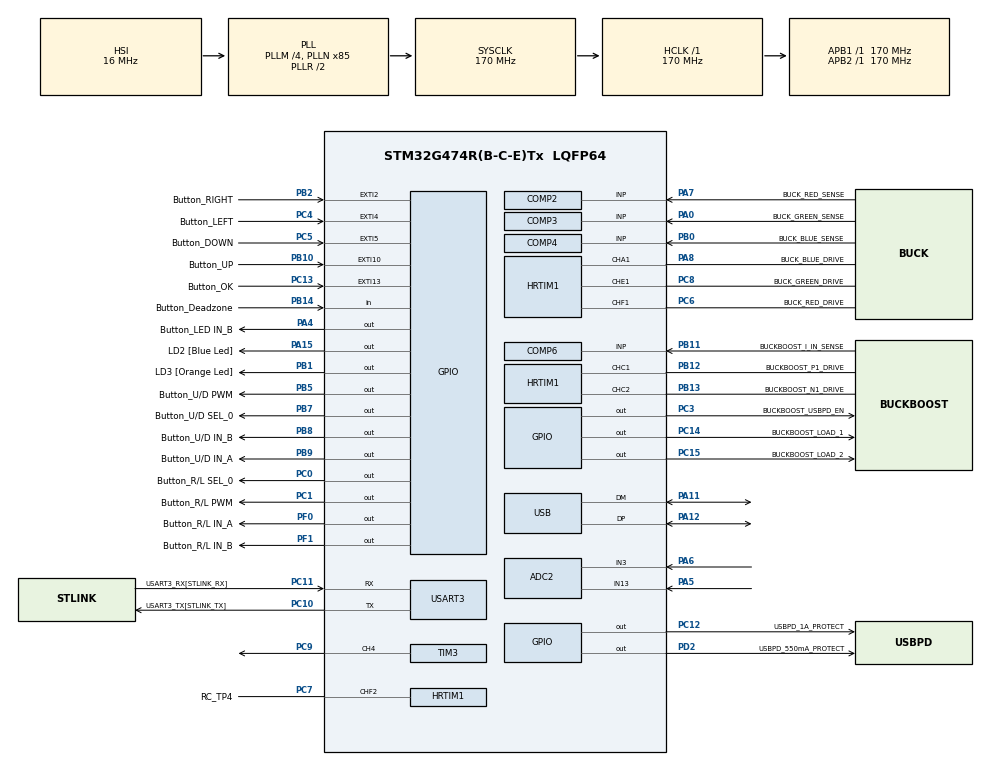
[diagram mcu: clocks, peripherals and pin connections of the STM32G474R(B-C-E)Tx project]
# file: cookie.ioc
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ADC2.Channel-0\#ChannelRegularConversion=ADC_CHANNEL_3
ADC2.Channel-1\#ChannelRegularConversion=ADC_CHANNEL_13
ADC2.ClockPrescaler=ADC_CLOCK_ASYNC_DIV16
ADC2.ContinuousConvMode=DISABLE
ADC2.EOCSelection=ADC_EOC_SINGLE_CONV
ADC2.NbrOfConversion=2
ADC2.NbrOfConversionFlag=1
ADC2.OffsetNumber-0\#ChannelRegularConversion=ADC_OFFSET_NONE
ADC2.OffsetNumber-1\#ChannelRegularConversion=ADC_OFFSET_NONE
ADC2.Rank-0\#ChannelRegularConversion=1
ADC2.Rank-1\#ChannelRegularConversion=2
ADC2.SamplingTime-0\#ChannelRegularConversion=ADC_SAMPLETIME_640CYCLES_5
ADC2.SamplingTime-1\#ChannelRegularConversion=ADC_SAMPLETIME_640CYCLES_5
FREERTOS.Tasks01=defaultTask,24,128,StartDefaultTask,Default,NULL,Dynamic,NULL,NULL;myTask02,8,128,StartTask02,Default,NULL,Dynamic,NULL,NULL;Position,8,128,StartTask03,Default,NULL,Dynamic,NULL,NULL;Task_5m,8,128,StartTask04,Default,NULL,Dynamic,NULL,NULL;myTask05,8,128,DeadZone,Default,NULL,Dynamic,NULL,NULL
FREERTOS.configTOTAL_HEAP_SIZE=10000
FREERTOS.configUSE_NEWLIB_REENTRANT=1
Mcu.Family=STM32G4
Mcu.Name=STM32G474R(B-C-E)Tx
Mcu.Package=LQFP64
NVIC.ADC1_2_IRQn=true\:5\:0\:false\:true\:true\:1\:true\:true\:true\:true
NVIC.EXTI15_10_IRQn=true\:5\:0\:false\:false\:true\:true\:true\:true\:true
NVIC.EXTI2_IRQn=true\:5\:0\:false\:false\:true\:true\:true\:true\:true
NVIC.EXTI4_IRQn=true\:5\:0\:false\:false\:true\:true\:true\:true\:true
NVIC.EXTI9_5_IRQn=true\:5\:0\:false\:false\:true\:true\:true\:true\:true
NVIC.HRTIM1_Master_IRQn=true\:5\:0\:false\:false\:true\:true\:true\:true\:true
NVIC.HRTIM1_TIMF_IRQn=true\:5\:0\:false\:false\:true\:true\:true\:true\:true
NVIC.PriorityGroup=NVIC_PRIORITYGROUP_4
NVIC.TIM1_UP_TIM16_IRQn=true\:15\:0\:false\:false\:true\:false\:false\:true\:true
NVIC.TimeBase=TIM1_UP_TIM16_IRQn
NVIC.TimeBaseIP=TIM1
NVIC.USART3_IRQn=true\:5\:0\:false\:false\:true\:true\:true\:true\:true
NVIC.USB_HP_IRQn=true\:5\:0\:false\:false\:true\:true\:true\:true\:true
PA0.GPIO_Label=BUCK_GREEN_SENSE
PA0.Mode=INP
PA0.Signal=COMP3_INP
PA1.GPIO_Label=BUCKBOOST_VIN
PA1.Signal=ADC1_IN2
PA10.Signal=UCPD1_DBCC2
PA11.Mode=Device
PA11.Signal=USB_DM
PA12.Mode=Device
PA12.Signal=USB_DP
PA13.Mode=Serial_Wire
PA13.Signal=SYS_JTMS-SWDIO
PA14.Mode=Serial_Wire
PA14.Signal=SYS_JTCK-SWCLK
PA15.GPIO_Label=LD2 [Blue Led]
PA15.Signal=GPIO_Output
PA2.GPIO_Label=BUCKBOOST_I_IN_AVG
PA2.Signal=ADC1_IN3
PA3.GPIO_Label=BUCKBOOST_VOUT
PA3.Signal=ADC1_IN4
PA4.GPIO_Label=Button_LED IN_B
PA4.Signal=GPIO_Output
PA5.Mode=IN13-Single-Ended
PA5.Signal=ADC2_IN13
PA6.Mode=IN3-Single-Ended
PA6.Signal=ADC2_IN3
PA7.GPIO_Label=BUCK_RED_SENSE
PA7.Mode=INP
PA7.Signal=COMP2_INP
PA8.GPIO_Label=BUCK_BLUE_DRIVE
PA8.Mode=Output_TA1
PA8.Signal=HRTIM1_CHA1
PA9.Signal=UCPD1_DBCC1
PB0.GPIO_Label=BUCK_BLUE_SENSE
PB0.Mode=INP
PB0.Signal=COMP4_INP
PB1.GPIO_Label=LD3 [Orange Led]
PB1.Signal=GPIO_Output
PB10.GPIO_Label=Button_UP
PB10.GPIO_PuPd=GPIO_PULLUP
PB10.Signal=GPXTI10
PB11.GPIO_Label=BUCKBOOST_I_IN_SENSE
PB11.Mode=INP
PB11.Signal=COMP6_INP
PB12.GPIO_Label=BUCKBOOST_P1_DRIVE
PB12.Mode=Output_TC1TC2
PB12.Signal=HRTIM1_CHC1
PB13.GPIO_Label=BUCKBOOST_N1_DRIVE
PB13.Mode=Output_TC1TC2
PB13.Signal=HRTIM1_CHC2
PB14.GPIO_Label=Button_Deadzone
PB14.GPIO_PuPd=GPIO_NOPULL
PB14.Signal=GPIO_Input
PB15.GPIO_Label=BUCKBOOST_P2_DRIVE
PB15.Signal=HRTIM1_CHD2
PB2.GPIO_Label=Button_RIGHT
PB2.GPIO_PuPd=GPIO_PULLUP
PB2.Signal=GPXTI2
PB3.Signal=SYS_JTDO-SWO
PB4.Signal=UCPD1_CC2
PB5.GPIO_Label=Button_U/D PWM
PB5.Signal=GPIO_Output
PB7.GPIO_Label=Button_U/D SEL_0
PB7.Signal=GPIO_Output
PB8-BOOT0.GPIO_Label=Button_U/D IN_B
PB8-BOOT0.Signal=GPIO_Output
PB9.GPIO_Label=Button_U/D IN_A
PB9.Signal=GPIO_Output
PC0.GPIO_Label=Button_R/L SEL_0
PC0.Signal=GPIO_Output
PC1.GPIO_Label=Button_R/L PWM
PC1.Signal=GPIO_Output
PC10.GPIO_Label=USART3_TX[STLINK_TX]
PC10.GPIO_Speed=GPIO_SPEED_FREQ_MEDIUM
PC10.Mode=Asynchronous
PC10.Signal=USART3_TX
PC11.GPIO_Label=USART3_RX[STLINK_RX]
PC11.GPIO_Speed=GPIO_SPEED_FREQ_MEDIUM
PC11.Mode=Asynchronous
PC11.Signal=USART3_RX
PC12.GPIO_Label=USBPD_1A_PROTECT
PC12.Signal=GPIO_Output
PC13.GPIO_Label=Button_OK
PC13.GPIO_PuPd=GPIO_PULLUP
PC13.Signal=GPXTI13
PC14-OSC32_IN.GPIO_Label=BUCKBOOST_LOAD_1
PC14-OSC32_IN.Signal=GPIO_Output
PC15-OSC32_OUT.GPIO_Label=BUCKBOOST_LOAD_2
PC15-OSC32_OUT.Signal=GPIO_Output
PC2.GPIO_Label=USBPD_VIN
PC2.Signal=ADC1_IN8
PC3.GPIO_Label=BUCKBOOST_USBPD_EN
PC3.Signal=GPIO_Output
PC4.GPIO_Label=Button_LEFT
PC4.GPIO_PuPd=GPIO_PULLUP
PC4.Signal=GPXTI4
PC5.GPIO_Label=Button_DOWN
PC5.GPIO_PuPd=GPIO_PULLUP
PC5.Signal=GPXTI5
PC6.GPIO_Label=BUCK_RED_DRIVE
PC6.Mode=Output_TF1TF2
PC6.Signal=HRTIM1_CHF1
PC7.GPIO_Label=RC_TP4
PC7.Mode=Output_TF1TF2
PC7.Signal=HRTIM1_CHF2
PC8.GPIO_Label=BUCK_GREEN_DRIVE
PC8.Mode=Output_TE1
PC8.Signal=HRTIM1_CHE1
PC9.Signal=S_TIM3_CH4
PD2.GPIO_Label=USBPD_550mA_PROTECT
PD2.Signal=GPIO_Output
PF0-OSC_IN.GPIO_Label=Button_R/L IN_A
PF0-OSC_IN.Signal=GPIO_Output
PF1-OSC_OUT.GPIO_Label=Button_R/L IN_B
PF1-OSC_OUT.Signal=GPIO_Output
ProjectManager.HeapSize=0x200
ProjectManager.StackSize=0x400
ProjectManager.TargetToolchain=STM32CubeIDE
RCC.ADC12Freq_Value=170000000
RCC.ADC345Freq_Value=170000000
RCC.AHBFreq_Value=170000000
RCC.APB1Freq_Value=170000000
RCC.APB1TimFreq_Value=170000000
RCC.APB2Freq_Value=170000000
RCC.APB2TimFreq_Value=170000000
RCC.CK48CLockSelection=RCC_USBCLKSOURCE_HSI48
RCC.CortexFreq_Value=170000000
RCC.EXTERNAL_CLOCK_VALUE=12288000
RCC.HCLKFreq_Value=170000000
RCC.HSE_VALUE=8000000
RCC.HSI48_VALUE=48000000
RCC.HSI_VALUE=16000000
RCC.LSE_VALUE=32768
RCC.PLLM=RCC_PLLM_DIV4
RCC.PLLN=85
RCC.PLLP=RCC_PLLP_DIV8
RCC.PLLQ=RCC_PLLQ_DIV8
RCC.SYSCLKFreq_VALUE=170000000
RCC.SYSCLKSource=RCC_SYSCLKSOURCE_PLLCLK
RCC.USBFreq_Value=48000000
RCC.VCOOutputFreq_Value=340000000
SH.S_TIM3_CH4.0=TIM3_CH4,PWM Generation4 CH4
TIM3.Channel-PWM\ Generation4\ CH4=TIM_CHANNEL_4
TIM3.PeriodNoDither=10000
TIM3.Prescaler=32
USART3.ClockPrescaler=PRESCALER_DIV4
USART3.VirtualMode-Asynchronous=VM_ASYNC
USART3.WordLength=WORDLENGTH_8B
VP_FREERTOS_VS_CMSIS_V2.Mode=CMSIS_V2
VP_SYS_VS_DBSignals.Mode=DisableDeadBatterySignals
VP_SYS_VS_tim1.Mode=TIM1
VP_TIM3_VS_ClockSourceINT.Mode=Internal
board=B-G474E-DPOW1

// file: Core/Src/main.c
/* USER CODE BEGIN Header */
/**
  ******************************************************************************
  * @file           : main.c
  * @brief          : Main program body
  ******************************************************************************
  * @attention
  *
  * Copyright (c) 2025 STMicroelectronics.
  * All rights reserved.
  *
  * This software is licensed under terms that can be found in the LICENSE file
  * in the root directory of this software component.
  * If no LICENSE file comes with this software, it is provided AS-IS.
  *
  ******************************************************************************
  */
/* USER CODE END Header */
#include "main.h"
#include "cmsis_os.h"

/* USER CODE BEGIN Includes */
#include "Stdbool.h"
#include "Stdint.h"
#include "string.h"
#define False 0
#define True 1
#define Vref_mV 3300

	  	  	 		  	  	 	  	   static uint32_t value1 = 0;
									   static uint32_t value2 = 0;
	  	  	 		  	  	 	  	   static uint32_t value1_conv = 0;
									   static uint32_t value2_conv = 0;

#define Position_L_R 2500
#define Position_U_D 2700

#define Hystersis 200

char ButtonState;
char state=0;
char moveleft=0;
char moveright=0;
char moveup=0;
char movedown=0;
char PositioningPhase=False;

#define Button_UP 0
#define Button_DOWN 1
#define Button_LEFT 2
#define Button_RIGHT 3
#define Button_LED 4
#define Button_LEDOFF 5
#define Button_COUNT 6

uint8_t buttonState[Button_COUNT] = {0};
uint8_t debounceCounter[Button_COUNT] = {0};
char  Message[]="Test";
static void PWM_setduty(uint8_t channel, uint16_t dutycycle);
/* USER CODE END Includes */

ADC_HandleTypeDef hadc2;

COMP_HandleTypeDef hcomp2;
COMP_HandleTypeDef hcomp3;
COMP_HandleTypeDef hcomp4;
COMP_HandleTypeDef hcomp6;

HRTIM_HandleTypeDef hhrtim1;

TIM_HandleTypeDef htim3;

UART_HandleTypeDef huart3;

PCD_HandleTypeDef hpcd_USB_FS;

/* Definitions for defaultTask */
osThreadId_t defaultTaskHandle;
const osThreadAttr_t defaultTask_attributes = {
  .name = "defaultTask",
  .priority = (osPriority_t) osPriorityNormal,
  .stack_size = 128 * 4
};
/* Definitions for myTask02 */
osThreadId_t myTask02Handle;
const osThreadAttr_t myTask02_attributes = {
  .name = "myTask02",
  .priority = (osPriority_t) osPriorityLow,
  .stack_size = 128 * 4
};
/* Definitions for Position */
osThreadId_t PositionHandle;
const osThreadAttr_t Position_attributes = {
  .name = "Position",
  .priority = (osPriority_t) osPriorityLow,
  .stack_size = 128 * 4
};
/* Definitions for Task_5m */
osThreadId_t Task_5mHandle;
const osThreadAttr_t Task_5m_attributes = {
  .name = "Task_5m",
  .priority = (osPriority_t) osPriorityLow,
  .stack_size = 128 * 4
};
/* Definitions for myTask05 */
osThreadId_t myTask05Handle;
const osThreadAttr_t myTask05_attributes = {
  .name = "myTask05",
  .priority = (osPriority_t) osPriorityLow,
  .stack_size = 128 * 4
};

void SystemClock_Config(void);
static void MX_GPIO_Init(void);
static void MX_COMP2_Init(void);
static void MX_COMP3_Init(void);
static void MX_COMP4_Init(void);
static void MX_COMP6_Init(void);
static void MX_HRTIM1_Init(void);
static void MX_USART3_UART_Init(void);
static void MX_USB_PCD_Init(void);
static void MX_ADC2_Init(void);
static void MX_TIM3_Init(void);
void StartDefaultTask(void *argument);
void StartTask02(void *argument);
void StartTask03(void *argument);
void StartTask04(void *argument);
void DeadZone(void *argument);

static void MX_NVIC_Init(void);
/* USER CODE BEGIN PFP */
void StartADC(void);
/* USER CODE END PFP */

int main(void)
{

  /* MCU Configuration--------------------------------------------------------*/

  /* Reset of all peripherals, Initializes the Flash interface and the Systick. */
  HAL_Init();

  /* Configure the system clock */
  SystemClock_Config();

  /* Initialize all configured peripherals */
  MX_GPIO_Init();
  MX_COMP2_Init();
  MX_COMP3_Init();
  MX_COMP4_Init();
  MX_COMP6_Init();
  MX_HRTIM1_Init();
  MX_USART3_UART_Init();
  MX_USB_PCD_Init();
  MX_ADC2_Init();
  MX_TIM3_Init();

  /* Initialize interrupts */
  MX_NVIC_Init();
  /* USER CODE BEGIN 2 */
HAL_ADCEx_Calibration_Start(&hadc2, ADC_SINGLE_ENDED);
HAL_UART_Transmit(&huart3, (uint8_t *) Message, strlen(Message), 10);
HAL_TIM_PWM_Start(&htim3, TIM_CHANNEL_4);
  /* USER CODE END 2 */

  /* Init scheduler */
  osKernelInitialize();

  /* Create the thread(s) */
  /* creation of defaultTask */
  defaultTaskHandle = osThreadNew(StartDefaultTask, NULL, &defaultTask_attributes);

  /* creation of myTask02 */
  myTask02Handle = osThreadNew(StartTask02, NULL, &myTask02_attributes);

  /* creation of Position */
  PositionHandle = osThreadNew(StartTask03, NULL, &Position_attributes);

  /* creation of Task_5m */
  Task_5mHandle = osThreadNew(StartTask04, NULL, &Task_5m_attributes);

  /* creation of myTask05 */
  myTask05Handle = osThreadNew(DeadZone, NULL, &myTask05_attributes);

  /* Start scheduler */
  osKernelStart();

  /* We should never get here as control is now taken by the scheduler */

  /* Infinite loop */
  while (1)
  {

  }
}

void SystemClock_Config(void)
{
  RCC_OscInitTypeDef RCC_OscInitStruct = {0};
  RCC_ClkInitTypeDef RCC_ClkInitStruct = {0};

  /** Configure the main internal regulator output voltage
  */
  HAL_PWREx_ControlVoltageScaling(PWR_REGULATOR_VOLTAGE_SCALE1_BOOST);

  /** Initializes the RCC Oscillators according to the specified parameters
  * in the RCC_OscInitTypeDef structure.
  */
  RCC_OscInitStruct.OscillatorType = RCC_OSCILLATORTYPE_HSI|RCC_OSCILLATORTYPE_HSI48;
  RCC_OscInitStruct.HSIState = RCC_HSI_ON;
  RCC_OscInitStruct.HSICalibrationValue = RCC_HSICALIBRATION_DEFAULT;
  RCC_OscInitStruct.HSI48State = RCC_HSI48_ON;
  RCC_OscInitStruct.PLL.PLLState = RCC_PLL_ON;
  RCC_OscInitStruct.PLL.PLLSource = RCC_PLLSOURCE_HSI;
  RCC_OscInitStruct.PLL.PLLM = RCC_PLLM_DIV4;
  RCC_OscInitStruct.PLL.PLLN = 85;
  RCC_OscInitStruct.PLL.PLLP = RCC_PLLP_DIV8;
  RCC_OscInitStruct.PLL.PLLQ = RCC_PLLQ_DIV8;
  RCC_OscInitStruct.PLL.PLLR = RCC_PLLR_DIV2;
  if (HAL_RCC_OscConfig(&RCC_OscInitStruct) != HAL_OK)
  {
    Error_Handler();
  }

  /** Initializes the CPU, AHB and APB buses clocks
  */
  RCC_ClkInitStruct.ClockType = RCC_CLOCKTYPE_HCLK|RCC_CLOCKTYPE_SYSCLK
                              |RCC_CLOCKTYPE_PCLK1|RCC_CLOCKTYPE_PCLK2;
  RCC_ClkInitStruct.SYSCLKSource = RCC_SYSCLKSOURCE_PLLCLK;
  RCC_ClkInitStruct.AHBCLKDivider = RCC_SYSCLK_DIV1;
  RCC_ClkInitStruct.APB1CLKDivider = RCC_HCLK_DIV1;
  RCC_ClkInitStruct.APB2CLKDivider = RCC_HCLK_DIV1;

  if (HAL_RCC_ClockConfig(&RCC_ClkInitStruct, FLASH_LATENCY_4) != HAL_OK)
  {
    Error_Handler();
  }
}

/**
  * @brief NVIC Configuration.
  * @retval None
  */
static void MX_NVIC_Init(void)
{
  /* ADC1_2_IRQn interrupt configuration */
  HAL_NVIC_SetPriority(ADC1_2_IRQn, 5, 0);
  HAL_NVIC_EnableIRQ(ADC1_2_IRQn);
}

static void MX_ADC2_Init(void)
{

  ADC_ChannelConfTypeDef sConfig = {0};

  /** Common config
  */
  hadc2.Instance = ADC2;
  hadc2.Init.ClockPrescaler = ADC_CLOCK_ASYNC_DIV16;
  hadc2.Init.Resolution = ADC_RESOLUTION_12B;
  hadc2.Init.DataAlign = ADC_DATAALIGN_RIGHT;
  hadc2.Init.GainCompensation = 0;
  hadc2.Init.ScanConvMode = ADC_SCAN_ENABLE;
  hadc2.Init.EOCSelection = ADC_EOC_SINGLE_CONV;
  hadc2.Init.LowPowerAutoWait = DISABLE;
  hadc2.Init.ContinuousConvMode = DISABLE;
  hadc2.Init.NbrOfConversion = 2;
  hadc2.Init.DiscontinuousConvMode = DISABLE;
  hadc2.Init.ExternalTrigConv = ADC_SOFTWARE_START;
  hadc2.Init.ExternalTrigConvEdge = ADC_EXTERNALTRIGCONVEDGE_NONE;
  hadc2.Init.DMAContinuousRequests = DISABLE;
  hadc2.Init.Overrun = ADC_OVR_DATA_PRESERVED;
  hadc2.Init.OversamplingMode = DISABLE;
  if (HAL_ADC_Init(&hadc2) != HAL_OK)
  {
    Error_Handler();
  }

  /** Configure Regular Channel
  */
  sConfig.Channel = ADC_CHANNEL_3;
  sConfig.Rank = ADC_REGULAR_RANK_1;
  sConfig.SamplingTime = ADC_SAMPLETIME_640CYCLES_5;
  sConfig.SingleDiff = ADC_SINGLE_ENDED;
  sConfig.OffsetNumber = ADC_OFFSET_NONE;
  sConfig.Offset = 0;
  if (HAL_ADC_ConfigChannel(&hadc2, &sConfig) != HAL_OK)
  {
    Error_Handler();
  }

  /** Configure Regular Channel
  */
  sConfig.Channel = ADC_CHANNEL_13;
  sConfig.Rank = ADC_REGULAR_RANK_2;
  if (HAL_ADC_ConfigChannel(&hadc2, &sConfig) != HAL_OK)
  {
    Error_Handler();
  }

}

static void MX_COMP2_Init(void)
{

  hcomp2.Instance = COMP2;
  hcomp2.Init.InputPlus = COMP_INPUT_PLUS_IO1;
  hcomp2.Init.InputMinus = COMP_INPUT_MINUS_1_4VREFINT;
  hcomp2.Init.OutputPol = COMP_OUTPUTPOL_NONINVERTED;
  hcomp2.Init.Hysteresis = COMP_HYSTERESIS_NONE;
  hcomp2.Init.BlankingSrce = COMP_BLANKINGSRC_NONE;
  hcomp2.Init.TriggerMode = COMP_TRIGGERMODE_NONE;
  if (HAL_COMP_Init(&hcomp2) != HAL_OK)
  {
    Error_Handler();
  }

}

static void MX_COMP3_Init(void)
{

  hcomp3.Instance = COMP3;
  hcomp3.Init.InputPlus = COMP_INPUT_PLUS_IO1;
  hcomp3.Init.InputMinus = COMP_INPUT_MINUS_1_4VREFINT;
  hcomp3.Init.OutputPol = COMP_OUTPUTPOL_NONINVERTED;
  hcomp3.Init.Hysteresis = COMP_HYSTERESIS_NONE;
  hcomp3.Init.BlankingSrce = COMP_BLANKINGSRC_NONE;
  hcomp3.Init.TriggerMode = COMP_TRIGGERMODE_NONE;
  if (HAL_COMP_Init(&hcomp3) != HAL_OK)
  {
    Error_Handler();
  }

}

static void MX_COMP4_Init(void)
{

  hcomp4.Instance = COMP4;
  hcomp4.Init.InputPlus = COMP_INPUT_PLUS_IO1;
  hcomp4.Init.InputMinus = COMP_INPUT_MINUS_1_4VREFINT;
  hcomp4.Init.OutputPol = COMP_OUTPUTPOL_NONINVERTED;
  hcomp4.Init.Hysteresis = COMP_HYSTERESIS_NONE;
  hcomp4.Init.BlankingSrce = COMP_BLANKINGSRC_NONE;
  hcomp4.Init.TriggerMode = COMP_TRIGGERMODE_NONE;
  if (HAL_COMP_Init(&hcomp4) != HAL_OK)
  {
    Error_Handler();
  }

}

static void MX_COMP6_Init(void)
{

  hcomp6.Instance = COMP6;
  hcomp6.Init.InputPlus = COMP_INPUT_PLUS_IO1;
  hcomp6.Init.InputMinus = COMP_INPUT_MINUS_1_4VREFINT;
  hcomp6.Init.OutputPol = COMP_OUTPUTPOL_NONINVERTED;
  hcomp6.Init.Hysteresis = COMP_HYSTERESIS_NONE;
  hcomp6.Init.BlankingSrce = COMP_BLANKINGSRC_NONE;
  hcomp6.Init.TriggerMode = COMP_TRIGGERMODE_NONE;
  if (HAL_COMP_Init(&hcomp6) != HAL_OK)
  {
    Error_Handler();
  }

}

static void MX_HRTIM1_Init(void)
{

  HRTIM_TimeBaseCfgTypeDef pTimeBaseCfg = {0};
  HRTIM_TimerCtlTypeDef pTimerCtl = {0};
  HRTIM_TimerCfgTypeDef pTimerCfg = {0};
  HRTIM_OutputCfgTypeDef pOutputCfg = {0};

  hhrtim1.Instance = HRTIM1;
  hhrtim1.Init.HRTIMInterruptResquests = HRTIM_IT_NONE;
  hhrtim1.Init.SyncOptions = HRTIM_SYNCOPTION_NONE;
  if (HAL_HRTIM_Init(&hhrtim1) != HAL_OK)
  {
    Error_Handler();
  }
  if (HAL_HRTIM_DLLCalibrationStart(&hhrtim1, HRTIM_CALIBRATIONRATE_3) != HAL_OK)
  {
    Error_Handler();
  }
  if (HAL_HRTIM_PollForDLLCalibration(&hhrtim1, 10) != HAL_OK)
  {
    Error_Handler();
  }
  pTimeBaseCfg.Period = 0xFFDF;
  pTimeBaseCfg.RepetitionCounter = 0x00;
  pTimeBaseCfg.PrescalerRatio = HRTIM_PRESCALERRATIO_MUL32;
  pTimeBaseCfg.Mode = HRTIM_MODE_CONTINUOUS;
  if (HAL_HRTIM_TimeBaseConfig(&hhrtim1, HRTIM_TIMERINDEX_TIMER_A, &pTimeBaseCfg) != HAL_OK)
  {
    Error_Handler();
  }
  pTimerCtl.UpDownMode = HRTIM_TIMERUPDOWNMODE_UP;
  pTimerCtl.DualChannelDacEnable = HRTIM_TIMER_DCDE_DISABLED;
  if (HAL_HRTIM_WaveformTimerControl(&hhrtim1, HRTIM_TIMERINDEX_TIMER_A, &pTimerCtl) != HAL_OK)
  {
    Error_Handler();
  }
  pTimerCfg.InterruptRequests = HRTIM_TIM_IT_NONE;
  pTimerCfg.DMARequests = HRTIM_TIM_DMA_NONE;
  pTimerCfg.DMASrcAddress = 0x0000;
  pTimerCfg.DMADstAddress = 0x0000;
  pTimerCfg.DMASize = 0x1;
  pTimerCfg.HalfModeEnable = HRTIM_HALFMODE_DISABLED;
  pTimerCfg.InterleavedMode = HRTIM_INTERLEAVED_MODE_DISABLED;
  pTimerCfg.StartOnSync = HRTIM_SYNCSTART_DISABLED;
  pTimerCfg.ResetOnSync = HRTIM_SYNCRESET_DISABLED;
  pTimerCfg.DACSynchro = HRTIM_DACSYNC_NONE;
  pTimerCfg.PreloadEnable = HRTIM_PRELOAD_DISABLED;
  pTimerCfg.UpdateGating = HRTIM_UPDATEGATING_INDEPENDENT;
  pTimerCfg.BurstMode = HRTIM_TIMERBURSTMODE_MAINTAINCLOCK;
  pTimerCfg.RepetitionUpdate = HRTIM_UPDATEONREPETITION_DISABLED;
  pTimerCfg.PushPull = HRTIM_TIMPUSHPULLMODE_DISABLED;
  pTimerCfg.FaultEnable = HRTIM_TIMFAULTENABLE_NONE;
  pTimerCfg.FaultLock = HRTIM_TIMFAULTLOCK_READWRITE;
  pTimerCfg.DeadTimeInsertion = HRTIM_TIMDEADTIMEINSERTION_DISABLED;
  pTimerCfg.DelayedProtectionMode = HRTIM_TIMER_A_B_C_DELAYEDPROTECTION_DISABLED;
  pTimerCfg.UpdateTrigger = HRTIM_TIMUPDATETRIGGER_NONE;
  pTimerCfg.ResetTrigger = HRTIM_TIMRESETTRIGGER_NONE;
  pTimerCfg.ResetUpdate = HRTIM_TIMUPDATEONRESET_DISABLED;
  pTimerCfg.ReSyncUpdate = HRTIM_TIMERESYNC_UPDATE_UNCONDITIONAL;
  if (HAL_HRTIM_WaveformTimerConfig(&hhrtim1, HRTIM_TIMERINDEX_TIMER_A, &pTimerCfg) != HAL_OK)
  {
    Error_Handler();
  }
  if (HAL_HRTIM_WaveformTimerConfig(&hhrtim1, HRTIM_TIMERINDEX_TIMER_C, &pTimerCfg) != HAL_OK)
  {
    Error_Handler();
  }
  pTimerCfg.DelayedProtectionMode = HRTIM_TIMER_D_E_DELAYEDPROTECTION_DISABLED;
  if (HAL_HRTIM_WaveformTimerConfig(&hhrtim1, HRTIM_TIMERINDEX_TIMER_E, &pTimerCfg) != HAL_OK)
  {
    Error_Handler();
  }
  pTimerCfg.DelayedProtectionMode = HRTIM_TIMER_F_DELAYEDPROTECTION_DISABLED;
  if (HAL_HRTIM_WaveformTimerConfig(&hhrtim1, HRTIM_TIMERINDEX_TIMER_F, &pTimerCfg) != HAL_OK)
  {
    Error_Handler();
  }
  pOutputCfg.Polarity = HRTIM_OUTPUTPOLARITY_HIGH;
  pOutputCfg.SetSource = HRTIM_OUTPUTSET_NONE;
  pOutputCfg.ResetSource = HRTIM_OUTPUTRESET_NONE;
  pOutputCfg.IdleMode = HRTIM_OUTPUTIDLEMODE_NONE;
  pOutputCfg.IdleLevel = HRTIM_OUTPUTIDLELEVEL_INACTIVE;
  pOutputCfg.FaultLevel = HRTIM_OUTPUTFAULTLEVEL_NONE;
  pOutputCfg.ChopperModeEnable = HRTIM_OUTPUTCHOPPERMODE_DISABLED;
  pOutputCfg.BurstModeEntryDelayed = HRTIM_OUTPUTBURSTMODEENTRY_REGULAR;
  if (HAL_HRTIM_WaveformOutputConfig(&hhrtim1, HRTIM_TIMERINDEX_TIMER_A, HRTIM_OUTPUT_TA1, &pOutputCfg) != HAL_OK)
  {
    Error_Handler();
  }
  if (HAL_HRTIM_WaveformOutputConfig(&hhrtim1, HRTIM_TIMERINDEX_TIMER_C, HRTIM_OUTPUT_TC1, &pOutputCfg) != HAL_OK)
  {
    Error_Handler();
  }
  if (HAL_HRTIM_WaveformOutputConfig(&hhrtim1, HRTIM_TIMERINDEX_TIMER_E, HRTIM_OUTPUT_TE1, &pOutputCfg) != HAL_OK)
  {
    Error_Handler();
  }
  if (HAL_HRTIM_WaveformOutputConfig(&hhrtim1, HRTIM_TIMERINDEX_TIMER_F, HRTIM_OUTPUT_TF1, &pOutputCfg) != HAL_OK)
  {
    Error_Handler();
  }
  if (HAL_HRTIM_TimeBaseConfig(&hhrtim1, HRTIM_TIMERINDEX_TIMER_C, &pTimeBaseCfg) != HAL_OK)
  {
    Error_Handler();
  }
  if (HAL_HRTIM_WaveformTimerControl(&hhrtim1, HRTIM_TIMERINDEX_TIMER_C, &pTimerCtl) != HAL_OK)
  {
    Error_Handler();
  }
  if (HAL_HRTIM_WaveformOutputConfig(&hhrtim1, HRTIM_TIMERINDEX_TIMER_C, HRTIM_OUTPUT_TC2, &pOutputCfg) != HAL_OK)
  {
    Error_Handler();
  }
  if (HAL_HRTIM_WaveformOutputConfig(&hhrtim1, HRTIM_TIMERINDEX_TIMER_F, HRTIM_OUTPUT_TF2, &pOutputCfg) != HAL_OK)
  {
    Error_Handler();
  }
  if (HAL_HRTIM_TimeBaseConfig(&hhrtim1, HRTIM_TIMERINDEX_TIMER_E, &pTimeBaseCfg) != HAL_OK)
  {
    Error_Handler();
  }
  if (HAL_HRTIM_WaveformTimerControl(&hhrtim1, HRTIM_TIMERINDEX_TIMER_E, &pTimerCtl) != HAL_OK)
  {
    Error_Handler();
  }
  if (HAL_HRTIM_TimeBaseConfig(&hhrtim1, HRTIM_TIMERINDEX_TIMER_F, &pTimeBaseCfg) != HAL_OK)
  {
    Error_Handler();
  }
  if (HAL_HRTIM_WaveformTimerControl(&hhrtim1, HRTIM_TIMERINDEX_TIMER_F, &pTimerCtl) != HAL_OK)
  {
    Error_Handler();
  }
  HAL_HRTIM_MspPostInit(&hhrtim1);

}

static void MX_TIM3_Init(void)
{

  TIM_ClockConfigTypeDef sClockSourceConfig = {0};
  TIM_MasterConfigTypeDef sMasterConfig = {0};
  TIM_OC_InitTypeDef sConfigOC = {0};

  htim3.Instance = TIM3;
  htim3.Init.Prescaler = 32;
  htim3.Init.CounterMode = TIM_COUNTERMODE_UP;
  htim3.Init.Period = 10000;
  htim3.Init.ClockDivision = TIM_CLOCKDIVISION_DIV1;
  htim3.Init.AutoReloadPreload = TIM_AUTORELOAD_PRELOAD_DISABLE;
  if (HAL_TIM_Base_Init(&htim3) != HAL_OK)
  {
    Error_Handler();
  }
  sClockSourceConfig.ClockSource = TIM_CLOCKSOURCE_INTERNAL;
  if (HAL_TIM_ConfigClockSource(&htim3, &sClockSourceConfig) != HAL_OK)
  {
    Error_Handler();
  }
  if (HAL_TIM_PWM_Init(&htim3) != HAL_OK)
  {
    Error_Handler();
  }
  sMasterConfig.MasterOutputTrigger = TIM_TRGO_RESET;
  sMasterConfig.MasterSlaveMode = TIM_MASTERSLAVEMODE_DISABLE;
  if (HAL_TIMEx_MasterConfigSynchronization(&htim3, &sMasterConfig) != HAL_OK)
  {
    Error_Handler();
  }
  sConfigOC.OCMode = TIM_OCMODE_PWM1;
  sConfigOC.Pulse = 0;
  sConfigOC.OCPolarity = TIM_OCPOLARITY_HIGH;
  sConfigOC.OCFastMode = TIM_OCFAST_DISABLE;
  if (HAL_TIM_PWM_ConfigChannel(&htim3, &sConfigOC, TIM_CHANNEL_4) != HAL_OK)
  {
    Error_Handler();
  }
  HAL_TIM_MspPostInit(&htim3);

}

static void MX_USART3_UART_Init(void)
{

  huart3.Instance = USART3;
  huart3.Init.BaudRate = 115200;
  huart3.Init.WordLength = UART_WORDLENGTH_8B;
  huart3.Init.StopBits = UART_STOPBITS_1;
  huart3.Init.Parity = UART_PARITY_NONE;
  huart3.Init.Mode = UART_MODE_TX_RX;
  huart3.Init.HwFlowCtl = UART_HWCONTROL_NONE;
  huart3.Init.OverSampling = UART_OVERSAMPLING_16;
  huart3.Init.OneBitSampling = UART_ONE_BIT_SAMPLE_DISABLE;
  huart3.Init.ClockPrescaler = UART_PRESCALER_DIV4;
  huart3.AdvancedInit.AdvFeatureInit = UART_ADVFEATURE_NO_INIT;
  if (HAL_UART_Init(&huart3) != HAL_OK)
  {
    Error_Handler();
  }
  if (HAL_UARTEx_SetTxFifoThreshold(&huart3, UART_TXFIFO_THRESHOLD_1_8) != HAL_OK)
  {
    Error_Handler();
  }
  if (HAL_UARTEx_SetRxFifoThreshold(&huart3, UART_RXFIFO_THRESHOLD_1_8) != HAL_OK)
  {
    Error_Handler();
  }
  if (HAL_UARTEx_DisableFifoMode(&huart3) != HAL_OK)
  {
    Error_Handler();
  }

}

static void MX_USB_PCD_Init(void)
{

  hpcd_USB_FS.Instance = USB;
  hpcd_USB_FS.Init.dev_endpoints = 8;
  hpcd_USB_FS.Init.speed = PCD_SPEED_FULL;
  hpcd_USB_FS.Init.phy_itface = PCD_PHY_EMBEDDED;
  hpcd_USB_FS.Init.Sof_enable = DISABLE;
  hpcd_USB_FS.Init.low_power_enable = DISABLE;
  hpcd_USB_FS.Init.lpm_enable = DISABLE;
  hpcd_USB_FS.Init.battery_charging_enable = DISABLE;
  if (HAL_PCD_Init(&hpcd_USB_FS) != HAL_OK)
  {
    Error_Handler();
  }

}

static void MX_GPIO_Init(void)
{
  GPIO_InitTypeDef GPIO_InitStruct = {0};

  /* GPIO Ports Clock Enable */
  __HAL_RCC_GPIOC_CLK_ENABLE();
  __HAL_RCC_GPIOF_CLK_ENABLE();
  __HAL_RCC_GPIOA_CLK_ENABLE();
  __HAL_RCC_GPIOB_CLK_ENABLE();
  __HAL_RCC_GPIOD_CLK_ENABLE();

  /*Configure GPIO pin Output Level */
  HAL_GPIO_WritePin(GPIOC, BUCKBOOST_LOAD_1_Pin|BUCKBOOST_LOAD_2_Pin|Button_R_L_SEL_0_Pin|Button_R_L_PWM_Pin
                          |BUCKBOOST_USBPD_EN_Pin|USBPD_1A_PROTECT_Pin, GPIO_PIN_RESET);

  /*Configure GPIO pin Output Level */
  HAL_GPIO_WritePin(GPIOF, Button_R_L_IN_A_Pin|Button_R_L_IN_B_Pin, GPIO_PIN_RESET);

  /*Configure GPIO pin Output Level */
  HAL_GPIO_WritePin(GPIOA, Button_LED_IN_B_Pin|LD2_Pin, GPIO_PIN_RESET);

  /*Configure GPIO pin Output Level */
  HAL_GPIO_WritePin(GPIOB, LD3_Pin|Button_U_D_PWM_Pin|Button_U_D_SEL_0_Pin|Button_U_D_IN_B_Pin
                          |Button_U_D_IN_A_Pin, GPIO_PIN_RESET);

  /*Configure GPIO pin Output Level */
  HAL_GPIO_WritePin(USBPD_550mA_PROTECT_GPIO_Port, USBPD_550mA_PROTECT_Pin, GPIO_PIN_RESET);

  /*Configure GPIO pins : Button_OK_Pin Button_LEFT_Pin Button_DOWN_Pin */
  GPIO_InitStruct.Pin = Button_OK_Pin|Button_LEFT_Pin|Button_DOWN_Pin;
  GPIO_InitStruct.Mode = GPIO_MODE_IT_RISING;
  GPIO_InitStruct.Pull = GPIO_PULLUP;
  HAL_GPIO_Init(GPIOC, &GPIO_InitStruct);

  /*Configure GPIO pins : BUCKBOOST_LOAD_1_Pin BUCKBOOST_LOAD_2_Pin Button_R_L_SEL_0_Pin Button_R_L_PWM_Pin
                           BUCKBOOST_USBPD_EN_Pin USBPD_1A_PROTECT_Pin */
  GPIO_InitStruct.Pin = BUCKBOOST_LOAD_1_Pin|BUCKBOOST_LOAD_2_Pin|Button_R_L_SEL_0_Pin|Button_R_L_PWM_Pin
                          |BUCKBOOST_USBPD_EN_Pin|USBPD_1A_PROTECT_Pin;
  GPIO_InitStruct.Mode = GPIO_MODE_OUTPUT_PP;
  GPIO_InitStruct.Pull = GPIO_NOPULL;
  GPIO_InitStruct.Speed = GPIO_SPEED_FREQ_LOW;
  HAL_GPIO_Init(GPIOC, &GPIO_InitStruct);

  /*Configure GPIO pins : Button_R_L_IN_A_Pin Button_R_L_IN_B_Pin */
  GPIO_InitStruct.Pin = Button_R_L_IN_A_Pin|Button_R_L_IN_B_Pin;
  GPIO_InitStruct.Mode = GPIO_MODE_OUTPUT_PP;
  GPIO_InitStruct.Pull = GPIO_NOPULL;
  GPIO_InitStruct.Speed = GPIO_SPEED_FREQ_LOW;
  HAL_GPIO_Init(GPIOF, &GPIO_InitStruct);

  /*Configure GPIO pin : USBPD_VIN_Pin */
  GPIO_InitStruct.Pin = USBPD_VIN_Pin;
  GPIO_InitStruct.Mode = GPIO_MODE_ANALOG;
  GPIO_InitStruct.Pull = GPIO_NOPULL;
  HAL_GPIO_Init(USBPD_VIN_GPIO_Port, &GPIO_InitStruct);

  /*Configure GPIO pins : BUCKBOOST_VIN_Pin BUCKBOOST_I_IN_AVG_Pin BUCKBOOST_VOUT_Pin */
  GPIO_InitStruct.Pin = BUCKBOOST_VIN_Pin|BUCKBOOST_I_IN_AVG_Pin|BUCKBOOST_VOUT_Pin;
  GPIO_InitStruct.Mode = GPIO_MODE_ANALOG;
  GPIO_InitStruct.Pull = GPIO_NOPULL;
  HAL_GPIO_Init(GPIOA, &GPIO_InitStruct);

  /*Configure GPIO pins : Button_LED_IN_B_Pin LD2_Pin */
  GPIO_InitStruct.Pin = Button_LED_IN_B_Pin|LD2_Pin;
  GPIO_InitStruct.Mode = GPIO_MODE_OUTPUT_PP;
  GPIO_InitStruct.Pull = GPIO_NOPULL;
  GPIO_InitStruct.Speed = GPIO_SPEED_FREQ_LOW;
  HAL_GPIO_Init(GPIOA, &GPIO_InitStruct);

  /*Configure GPIO pins : LD3_Pin Button_U_D_PWM_Pin Button_U_D_SEL_0_Pin Button_U_D_IN_B_Pin
                           Button_U_D_IN_A_Pin */
  GPIO_InitStruct.Pin = LD3_Pin|Button_U_D_PWM_Pin|Button_U_D_SEL_0_Pin|Button_U_D_IN_B_Pin
                          |Button_U_D_IN_A_Pin;
  GPIO_InitStruct.Mode = GPIO_MODE_OUTPUT_PP;
  GPIO_InitStruct.Pull = GPIO_NOPULL;
  GPIO_InitStruct.Speed = GPIO_SPEED_FREQ_LOW;
  HAL_GPIO_Init(GPIOB, &GPIO_InitStruct);

  /*Configure GPIO pins : Button_RIGHT_Pin Button_UP_Pin */
  GPIO_InitStruct.Pin = Button_RIGHT_Pin|Button_UP_Pin;
  GPIO_InitStruct.Mode = GPIO_MODE_IT_RISING;
  GPIO_InitStruct.Pull = GPIO_PULLUP;
  HAL_GPIO_Init(GPIOB, &GPIO_InitStruct);

  /*Configure GPIO pin : Button_Deadzone_Pin */
  GPIO_InitStruct.Pin = Button_Deadzone_Pin;
  GPIO_InitStruct.Mode = GPIO_MODE_INPUT;
  GPIO_InitStruct.Pull = GPIO_NOPULL;
  HAL_GPIO_Init(Button_Deadzone_GPIO_Port, &GPIO_InitStruct);

  /*Configure GPIO pin : USBPD_550mA_PROTECT_Pin */
  GPIO_InitStruct.Pin = USBPD_550mA_PROTECT_Pin;
  GPIO_InitStruct.Mode = GPIO_MODE_OUTPUT_PP;
  GPIO_InitStruct.Pull = GPIO_NOPULL;
  GPIO_InitStruct.Speed = GPIO_SPEED_FREQ_LOW;
  HAL_GPIO_Init(USBPD_550mA_PROTECT_GPIO_Port, &GPIO_InitStruct);

  /*Configure GPIO pin : PB4 */
  GPIO_InitStruct.Pin = GPIO_PIN_4;
  GPIO_InitStruct.Mode = GPIO_MODE_ANALOG;
  GPIO_InitStruct.Pull = GPIO_NOPULL;
  HAL_GPIO_Init(GPIOB, &GPIO_InitStruct);

  /* EXTI interrupt init*/
  HAL_NVIC_SetPriority(EXTI2_IRQn, 5, 0);
  HAL_NVIC_EnableIRQ(EXTI2_IRQn);

  HAL_NVIC_SetPriority(EXTI4_IRQn, 5, 0);
  HAL_NVIC_EnableIRQ(EXTI4_IRQn);

  HAL_NVIC_SetPriority(EXTI9_5_IRQn, 5, 0);
  HAL_NVIC_EnableIRQ(EXTI9_5_IRQn);

  HAL_NVIC_SetPriority(EXTI15_10_IRQn, 5, 0);
  HAL_NVIC_EnableIRQ(EXTI15_10_IRQn);

}

/* USER CODE BEGIN 4 */

static void PWM_setduty(uint8_t channel, uint16_t dutycycle)
{
	uint16_t calcduty=(htim3.Init.Period/100)*dutycycle;
	__HAL_TIM_SET_COMPARE(&htim3,channel,calcduty);

}

void StartADC(void)
{
			HAL_ADC_Start(&hadc2);
			   while(HAL_ADC_PollForConversion(&hadc2, 650000) != HAL_OK)
			  {

			  }
			   value1 = HAL_ADC_GetValue(&hadc2);
			   value1_conv= __HAL_ADC_CALC_DATA_TO_VOLTAGE(Vref_mV,value1,ADC_RESOLUTION_12B);
			   HAL_ADC_Start(&hadc2);
			   while(HAL_ADC_PollForConversion(&hadc2, 650000) != HAL_OK)
			  {

			  }
			   value2 = HAL_ADC_GetValue(&hadc2);
			   value2_conv= __HAL_ADC_CALC_DATA_TO_VOLTAGE(Vref_mV,value2,ADC_RESOLUTION_12B);
}
/* USER CODE END 4 */

void StartDefaultTask(void *argument)
{
  /* USER CODE BEGIN 5 */
  /* Infinite loop */
  for(;;)
  {

	  if(buttonState[Button_LEFT]==1 && buttonState[Button_RIGHT]==0 &&buttonState[Button_DOWN]==0&&buttonState[Button_UP]==0)
	  {
		  HAL_GPIO_WritePin(Button_R_L_IN_A_GPIO_Port, Button_R_L_IN_A_Pin, 1);
		  HAL_GPIO_WritePin(Button_R_L_IN_B_GPIO_Port, Button_R_L_IN_B_Pin, 0);
		  HAL_GPIO_WritePin(Button_R_L_SEL_0_GPIO_Port, Button_R_L_SEL_0_Pin, 1);
		  HAL_GPIO_WritePin(Button_R_L_PWM_GPIO_Port, Button_R_L_PWM_Pin, 1);
	  }
	  else if(buttonState[Button_LEFT]==0 && buttonState[Button_RIGHT]==0)
	  {
		  HAL_GPIO_WritePin(Button_R_L_IN_A_GPIO_Port, Button_R_L_IN_A_Pin, 1);
		  HAL_GPIO_WritePin(Button_R_L_IN_B_GPIO_Port, Button_R_L_IN_B_Pin, 0);
		  HAL_GPIO_WritePin(Button_R_L_SEL_0_GPIO_Port, Button_R_L_SEL_0_Pin, 1);
		  HAL_GPIO_WritePin(Button_R_L_PWM_GPIO_Port, Button_R_L_PWM_Pin, 0);
	  }
	  if(buttonState[Button_RIGHT]==1&&buttonState[Button_LEFT]==0&&buttonState[Button_DOWN]==0&&buttonState[Button_UP]==0)
	  {
		  HAL_GPIO_WritePin(Button_R_L_IN_A_GPIO_Port, Button_R_L_IN_A_Pin, 0);
		  HAL_GPIO_WritePin(Button_R_L_IN_B_GPIO_Port, Button_R_L_IN_B_Pin, 1);
		  HAL_GPIO_WritePin(Button_R_L_SEL_0_GPIO_Port, Button_R_L_SEL_0_Pin, 0);
		  HAL_GPIO_WritePin(Button_R_L_PWM_GPIO_Port, Button_R_L_PWM_Pin, 1);
	  }
	  else if(buttonState[Button_RIGHT]==0&&buttonState[Button_LEFT]==0)
	  	  {
	  		  HAL_GPIO_WritePin(Button_U_D_IN_A_GPIO_Port, Button_U_D_IN_A_Pin, 0);
	  		  HAL_GPIO_WritePin(Button_U_D_IN_B_GPIO_Port, Button_U_D_IN_B_Pin, 0);
	  		  HAL_GPIO_WritePin(Button_U_D_SEL_0_GPIO_Port, Button_U_D_SEL_0_Pin, 0);
	  		  HAL_GPIO_WritePin(Button_U_D_PWM_GPIO_Port, Button_U_D_PWM_Pin, 0);
	  		  HAL_GPIO_WritePin(Button_R_L_IN_A_GPIO_Port, Button_R_L_IN_A_Pin, 0);
	  		  HAL_GPIO_WritePin(Button_R_L_IN_B_GPIO_Port, Button_R_L_IN_B_Pin, 0);
	  		  HAL_GPIO_WritePin(Button_R_L_SEL_0_GPIO_Port, Button_R_L_SEL_0_Pin, 0);
	  		  HAL_GPIO_WritePin(Button_R_L_PWM_GPIO_Port, Button_R_L_PWM_Pin, 0);
	  	  }
	  if(buttonState[Button_UP]==1 && buttonState[Button_DOWN]==0 && buttonState[Button_RIGHT]==0&&buttonState[Button_LEFT]==0)
	 	  {
	 		  HAL_GPIO_WritePin(Button_U_D_IN_A_GPIO_Port, Button_U_D_IN_A_Pin, 1);
	 		  HAL_GPIO_WritePin(Button_U_D_IN_B_GPIO_Port, Button_U_D_IN_B_Pin, 0);
	 		  HAL_GPIO_WritePin(Button_U_D_SEL_0_GPIO_Port, Button_U_D_SEL_0_Pin, 1);
	 		  HAL_GPIO_WritePin(Button_U_D_PWM_GPIO_Port, Button_U_D_PWM_Pin, 1);
	 	  }
	 	  else if(buttonState[Button_UP]==0 && buttonState[Button_DOWN]==0&& buttonState[Button_RIGHT]==0&&buttonState[Button_LEFT]==0)
	 	  {
	 		  HAL_GPIO_WritePin(Button_U_D_IN_A_GPIO_Port, Button_U_D_IN_A_Pin, 1);
	 		  HAL_GPIO_WritePin(Button_U_D_IN_B_GPIO_Port, Button_U_D_IN_B_Pin, 0);
	 		  HAL_GPIO_WritePin(Button_U_D_SEL_0_GPIO_Port, Button_U_D_SEL_0_Pin, 1);
	 		  HAL_GPIO_WritePin(Button_U_D_PWM_GPIO_Port, Button_U_D_PWM_Pin, 0);
	 	  }
	 	  if(buttonState[Button_DOWN]==1&&buttonState[Button_UP]==0 && buttonState[Button_RIGHT]==0&&buttonState[Button_LEFT]==0)
	 	  {
	 		  HAL_GPIO_WritePin(Button_U_D_IN_A_GPIO_Port, Button_U_D_IN_A_Pin, 0);
	 		  HAL_GPIO_WritePin(Button_U_D_IN_B_GPIO_Port, Button_U_D_IN_B_Pin, 1);
	 		  HAL_GPIO_WritePin(Button_U_D_SEL_0_GPIO_Port, Button_U_D_SEL_0_Pin, 0);
	 		  HAL_GPIO_WritePin(Button_U_D_PWM_GPIO_Port, Button_U_D_PWM_Pin, 1);
	 	  }
	 	  else if(buttonState[Button_DOWN]==0&&buttonState[Button_UP]==0&& buttonState[Button_RIGHT]==0&&buttonState[Button_LEFT]==0)
	 	  	  {
	 	  		  HAL_GPIO_WritePin(Button_U_D_IN_A_GPIO_Port, Button_U_D_IN_A_Pin, 0);
	 	  		  HAL_GPIO_WritePin(Button_U_D_IN_B_GPIO_Port, Button_U_D_IN_B_Pin, 0);
	 	  		  HAL_GPIO_WritePin(Button_U_D_SEL_0_GPIO_Port, Button_U_D_SEL_0_Pin, 0);
	 	  		  HAL_GPIO_WritePin(Button_U_D_PWM_GPIO_Port, Button_U_D_PWM_Pin, 0);
		  		  HAL_GPIO_WritePin(Button_R_L_IN_A_GPIO_Port, Button_R_L_IN_A_Pin, 0);
		  		  HAL_GPIO_WritePin(Button_R_L_IN_B_GPIO_Port, Button_R_L_IN_B_Pin, 0);
		  		  HAL_GPIO_WritePin(Button_R_L_SEL_0_GPIO_Port, Button_R_L_SEL_0_Pin, 0);
		  		  HAL_GPIO_WritePin(Button_R_L_PWM_GPIO_Port, Button_R_L_PWM_Pin, 0);
	 	  	  }
    osDelay(5);
  }
  /* USER CODE END 5 */
}

void StartTask02(void *argument)
{
  /* USER CODE BEGIN StartTask02 */
  /* Infinite loop */
  for(;;)
  {
	  if(HAL_GPIO_ReadPin(Button_UP_GPIO_Port, Button_UP_Pin) == 0)
	  	  {
	  		  debounceCounter[Button_UP]++;
	  		  if(debounceCounter[Button_UP] >= 5u)
	  		  {
	  			  debounceCounter[Button_UP] = 0;
	  			  buttonState[Button_UP] = True;
	  		  }
	  	  }
	  	  else {
	  		  debounceCounter[Button_UP] = 0;
	  		  buttonState[Button_UP] = False;
	  	  }
	  	  if(HAL_GPIO_ReadPin(Button_DOWN_GPIO_Port, Button_DOWN_Pin) == 0)
	  	  	  {
	  	  		  debounceCounter[Button_DOWN]++;
	  	  		  if(debounceCounter[Button_DOWN] >= 5u)
	  	  		  {
	  	  			  debounceCounter[Button_DOWN] = 0;
	  	  			  buttonState[Button_DOWN] = True;
	  	  		  }
	  	  	  }
	  	  	  else {
	  	  		  debounceCounter[Button_DOWN] = 0;
	  	  		  buttonState[Button_DOWN] = False;
	  	  	  }
	  	  if(HAL_GPIO_ReadPin(Button_RIGHT_GPIO_Port, Button_RIGHT_Pin) == 0)
	  	  	  {
	  	  		  debounceCounter[Button_RIGHT]++;
	  	  		  if(debounceCounter[Button_RIGHT] >= 5u)
	  	  		  {
	  	  			  debounceCounter[Button_RIGHT] = 0;
	  	  			  buttonState[Button_RIGHT] = True;
	  	  		  }
	  	  	  }
	  	  	  else {
	  	  		  debounceCounter[Button_RIGHT] = 0;
	  	  		  buttonState[Button_RIGHT] = False;
	  	  	  }
	  	  if(HAL_GPIO_ReadPin(Button_LEFT_GPIO_Port, Button_LEFT_Pin) == 0)
	  	  	  {
	  	  		  debounceCounter[Button_LEFT]++;
	  	  		  if(debounceCounter[Button_LEFT] >= 5u)
	  	  		  {
	  	  			  debounceCounter[Button_LEFT] = 0;
	  	  			  buttonState[Button_LEFT] = True;
	  	  		  }
	  	  	  }
	  	  	  else {
	  	  		  debounceCounter[Button_LEFT] = 0;
	  	  		  buttonState[Button_LEFT] = False;
	  	  	  }
	  	  if(HAL_GPIO_ReadPin(Button_OK_GPIO_Port, Button_OK_Pin) == 0)
	  	  	  	  {
	  	  	  		  debounceCounter[Button_LED]++;
	  	  	  		  if(debounceCounter[Button_LED] >= 5u)
	  	  	  		  {
	  	  	  			  debounceCounter[Button_LED] = 0;
	  	  	  			  buttonState[Button_LED] = True;
	  	  	  		  }
	  	  	  	  }
	  	  	  	  else {
	  	  	  		  debounceCounter[Button_LED] = 0;
	  	  	  		  buttonState[Button_LED] = False;
	  	  	  	  }
	  	  if(HAL_GPIO_ReadPin(Button_Deadzone_GPIO_Port, Button_Deadzone_Pin) == 1)
	  	  	  	  {
	  	  	  		  debounceCounter[Button_LEDOFF]++;
	  	  	  		  if(debounceCounter[Button_LEDOFF] >= 50u)
	  	  	  		  {
	  	  	  			  debounceCounter[Button_LEDOFF] = 0;
	  	  	  			  buttonState[Button_LEDOFF]++;
	  	  	  			  if(buttonState[Button_LEDOFF]>=3)
	  	  	  			  {
	  	  	  				  buttonState[Button_LEDOFF]=0;
	  	  	  			  }
	  	  	  		  }
	  	  	  	  }
	  	  	  	  else {
	  	  	  		  debounceCounter[Button_LEDOFF] = 0;
	  	  	  	  }
				StartADC();

    osDelay(10);
  }
  /* USER CODE END StartTask02 */
}

void StartTask03(void *argument)
{
  /* USER CODE BEGIN StartTask03 */
  /* Infinite loop */
  for(;;)
  {
	  if(PositioningPhase==True)
	  {

		  while(value2_conv>(Position_L_R+Hystersis) || value2_conv<(Position_L_R-Hystersis) )
		  {
			  StartADC();
			  if(value2_conv>Position_L_R)
			  {
				  HAL_GPIO_WritePin(Button_R_L_IN_A_GPIO_Port, Button_R_L_IN_A_Pin, 0);
				  HAL_GPIO_WritePin(Button_R_L_IN_B_GPIO_Port, Button_R_L_IN_B_Pin, 1);
				  HAL_GPIO_WritePin(Button_R_L_SEL_0_GPIO_Port, Button_R_L_SEL_0_Pin, 0);
				  HAL_GPIO_WritePin(Button_R_L_PWM_GPIO_Port, Button_R_L_PWM_Pin, 1);
			  }
			  else if(value2_conv<Position_L_R)
			  {
				  HAL_GPIO_WritePin(Button_R_L_IN_A_GPIO_Port, Button_R_L_IN_A_Pin, 1);
				  HAL_GPIO_WritePin(Button_R_L_IN_B_GPIO_Port, Button_R_L_IN_B_Pin, 0);
				  HAL_GPIO_WritePin(Button_R_L_SEL_0_GPIO_Port, Button_R_L_SEL_0_Pin, 1);
				  HAL_GPIO_WritePin(Button_R_L_PWM_GPIO_Port, Button_R_L_PWM_Pin, 1);
			  }
			  else
			  {
				  HAL_GPIO_WritePin(Button_R_L_IN_A_GPIO_Port, Button_R_L_IN_A_Pin, 0);
				  HAL_GPIO_WritePin(Button_R_L_IN_B_GPIO_Port, Button_R_L_IN_B_Pin, 0);
				  HAL_GPIO_WritePin(Button_R_L_SEL_0_GPIO_Port, Button_R_L_SEL_0_Pin, 0);
				  HAL_GPIO_WritePin(Button_R_L_PWM_GPIO_Port, Button_R_L_PWM_Pin, 0);
			  }

		  }

		  while(value1_conv>(Position_U_D+Hystersis) || value2_conv<(Position_U_D-Hystersis) )
		  {
			  StartADC();
			  if(value1_conv>Position_U_D)
			  			  {
				  	  	  	  HAL_GPIO_WritePin(Button_U_D_IN_A_GPIO_Port, Button_U_D_IN_A_Pin, 1);
				  	 		  HAL_GPIO_WritePin(Button_U_D_IN_B_GPIO_Port, Button_U_D_IN_B_Pin, 0);
				  	 		  HAL_GPIO_WritePin(Button_U_D_SEL_0_GPIO_Port, Button_U_D_SEL_0_Pin, 1);
				  	 		  HAL_GPIO_WritePin(Button_U_D_PWM_GPIO_Port, Button_U_D_PWM_Pin, 1);
			  			  }
			  			  else if(value1_conv<Position_U_D)
			  			  {
			  				  HAL_GPIO_WritePin(Button_U_D_IN_A_GPIO_Port, Button_U_D_IN_A_Pin, 1);
			  				  HAL_GPIO_WritePin(Button_U_D_IN_B_GPIO_Port, Button_U_D_IN_B_Pin, 0);
			  				  HAL_GPIO_WritePin(Button_U_D_SEL_0_GPIO_Port, Button_U_D_SEL_0_Pin, 1);
				  	 		  HAL_GPIO_WritePin(Button_U_D_PWM_GPIO_Port, Button_U_D_PWM_Pin, 0);
			  			  }
			  			  else
								{
			  				  HAL_GPIO_WritePin(Button_U_D_IN_A_GPIO_Port, Button_U_D_IN_A_Pin, 0);
			  				  HAL_GPIO_WritePin(Button_U_D_IN_B_GPIO_Port, Button_U_D_IN_B_Pin, 0);
			  				  HAL_GPIO_WritePin(Button_U_D_SEL_0_GPIO_Port, Button_U_D_SEL_0_Pin, 0);
				  	 		  HAL_GPIO_WritePin(Button_U_D_PWM_GPIO_Port, Button_U_D_PWM_Pin, 0);
								}

		  }
		  PositioningPhase=False;
	  }
    osDelay(1);
  }
  /* USER CODE END StartTask03 */
}

void StartTask04(void *argument)
{
  /* USER CODE BEGIN StartTask04 */
  /* Infinite loop */
  for(;;)
  {
	  switch (buttonState[Button_LED]) {
	 	  	  	  case 0:
	 	  	  		  HAL_GPIO_WritePin(Button_LED_IN_B_GPIO_Port, Button_LED_IN_B_Pin, 0);
	 	  	  		  break;
	 	  			case 1:
	 	  				HAL_GPIO_TogglePin(Button_LED_IN_B_GPIO_Port, Button_LED_IN_B_Pin);
	 	  				break;
	 	  			default:
	 	  				HAL_GPIO_WritePin(Button_LED_IN_B_GPIO_Port, Button_LED_IN_B_Pin, 0);
	 	  				break;
	 	  		}
    osDelay(500);
  }
  /* USER CODE END StartTask04 */
}

void DeadZone(void *argument)
{
  /* USER CODE BEGIN DeadZone */
  /* Infinite loop */
  for(;;)
  {
	  switch (buttonState[Button_LEDOFF]) {
	  case 0:
		  PWM_setduty(TIM_CHANNEL_4, 0);
		  break;
	  case 1:
		  PWM_setduty(TIM_CHANNEL_4, 50);
		  break;
	  case 2:
		  PWM_setduty(TIM_CHANNEL_4, 100);
		  break;
	  default:
		 break;
	  }
    osDelay(5);
  }
  /* USER CODE END DeadZone */
}

void HAL_TIM_PeriodElapsedCallback(TIM_HandleTypeDef *htim)
{
  if (htim->Instance == TIM1)
  {
    HAL_IncTick();
  }
}

void Error_Handler(void)
{
  __disable_irq();
  while (1)
  {
  }
}
